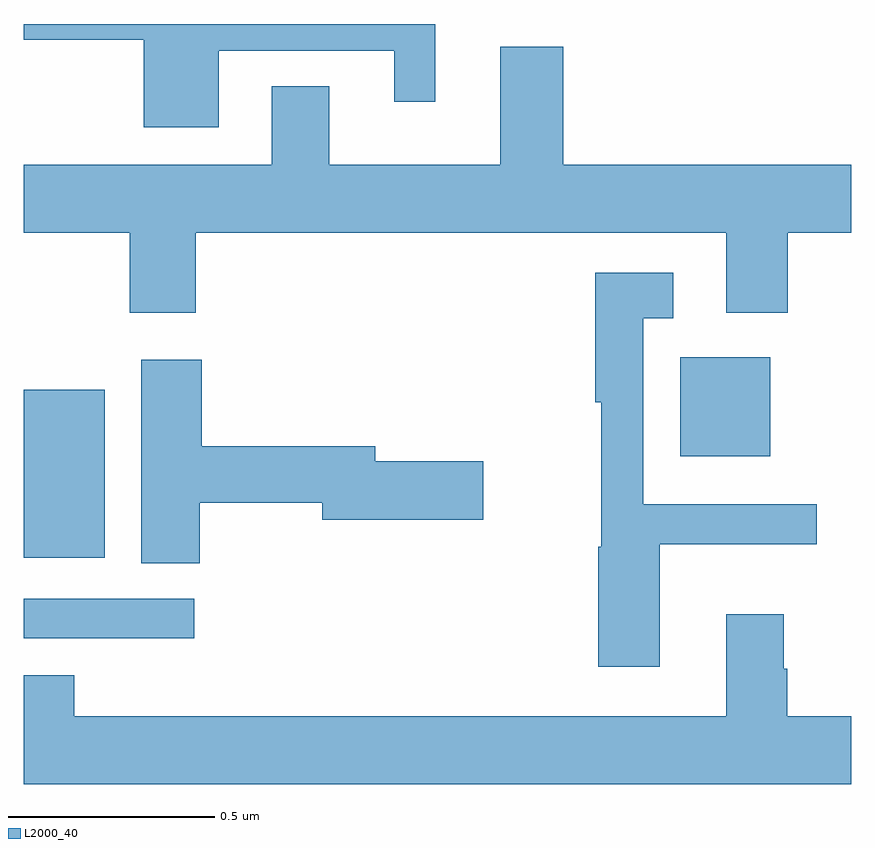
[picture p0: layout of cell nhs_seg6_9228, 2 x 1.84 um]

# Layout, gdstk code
import gdstk
lib = gdstk.Library(unit=1e-6, precision=1e-09)
def R(c, l, rs):  # rectangles x0, y0, x1, y1
    for r in rs: c.add(gdstk.rectangle(r[:2], r[2:], *l))
def P(c, l, *ps):  # polygons
    for p in ps: c.add(gdstk.Polygon(p, *l))
L2000_40 = (2000, 40)

nhs_seg6_9228 = lib.new_cell('nhs_seg6_9228')
R(nhs_seg6_9228, L2000_40, [(231,953.016,231.412,953.112), (231,953.21,231.196,953.617), (232.586,953.456,232.804,953.695)])
P(nhs_seg6_9228, L2000_40, [(231.472,954.435),(231.896,954.435),(231.896,954.312),(231.994,954.312),(231.994,954.5),(231,954.5),(231,954.462),(231.29,954.462),(231.29,954.251),(231.472,954.251)],
  [(231.416,953.996),(232.697,953.996),(232.697,953.802),(232.846,953.802),(232.846,953.996),(233,953.996),(233,954.16),(232.304,954.16),(232.304,954.445),(232.151,954.445),(232.151,954.16),(231.739,954.16),(231.739,954.35),(231.599,954.35),(231.599,954.16),(231,954.16),(231,953.996),(231.256,953.996),(231.256,953.802),(231.416,953.802)],
  [(232.537,953.243),(232.916,953.243),(232.916,953.34),(232.497,953.34),(232.497,953.789),(232.57,953.789),(232.57,953.899),(232.381,953.899),(232.381,953.586),(232.396,953.586),(232.396,953.237),(232.388,953.237),(232.388,952.947),(232.537,952.947)],
  [(231.426,953.344),(231.722,953.344),(231.722,953.302),(232.111,953.302),(232.111,953.444),(231.85,953.444),(231.85,953.48),(231.431,953.48),(231.431,953.689),(231.284,953.689),(231.284,953.197),(231.426,953.197)],
  [(233,952.828),(232.845,952.828),(232.845,952.943),(232.837,952.943),(232.837,953.074),(232.697,953.074),(232.697,952.828),(231.122,952.828),(231.122,952.927),(231,952.927),(231,952.664),(233,952.664)])

lib.write_gds('nhs_seg6_9228.gds')
